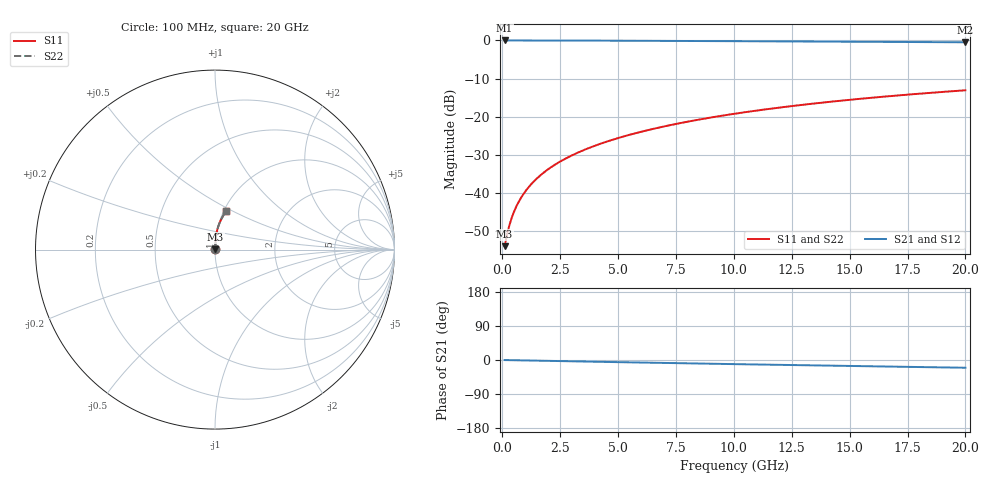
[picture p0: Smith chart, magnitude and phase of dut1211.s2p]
! Touchstone file exported from HFSS 2024.1.0
!  File:  C:/UserFiles/LocalFiles/RDL_TSV_Batchsim/temp_RDL_top_1211_1780239812.aedt
!  Generated:  11:05:58 PM May 31, 2026
!  Design:  RDL_top
!  Project:  temp_RDL_top_1211_1780239812
!  Setup:  Setup1
!  Solution:  Sweep
! Variables:
!  dtsv = 10.80580581um
!  hbump = 3um
!  htsv = 93.15um
!  ldown = 100um
!  lrdl = 258.87um
!  p = 40
!  p1 = 45.47um
!  rhole = 1um
!  t = 450um
!  tdown = 3.915915916um
!  trdl = 3.26um
!  wdown = 15.38538539um
!  wrdl = 19.04um
# GHz S MA R 50.000000
! Terminal data exported
! Port[1] = Box2_T1
! Port[2] = Box2_T2
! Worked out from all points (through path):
!   200 points, 100 MHz to 20 GHz, reference 50 ohm
!   highest |S21| = -0.01 dB at 100 MHz (marker M1); lowest = -0.5 dB at 20 GHz (marker M2)
!   group delay of S21, straight-line fit = 2.82 ps
!   lowest |S11| = -53.9 dB at 100 MHz (marker M3), VSWR 1.00, Z = 50.2 + j0.112 ohm
!   |S11| at or under -10 dB: start of sweep to end of sweep
!   |S22| runs from -53.9 to -13.1 dB; largest |S21 - S12| = 5.3e-15
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0.1  0.002026 33.5  0.9983 -0.1  0.9983 -0.1  0.002026 33.5
! Gamma 0 0 0 0
! Port Impedance 50 0 50 0
0.2  0.002816 51.7  0.9982 -0.2  0.9982 -0.2  0.002816 51.7
0.3  0.00374 61.1  0.9982 -0.4  0.9982 -0.4  0.00374 61.1
0.4  0.0047 66.6  0.9981 -0.5  0.9981 -0.5  0.0047 66.6
0.5  0.005671 70.2  0.998 -0.6  0.998 -0.6  0.005671 70.2
0.6  0.006648 72.9  0.9979 -0.7  0.9979 -0.7  0.006648 72.9
0.8  0.00862 76.5  0.9978 -0.9  0.9978 -0.9  0.00862 76.5
1.1  0.01161 79.7  0.9976 -1.3  0.9976 -1.3  0.01161 79.7
1.3  0.01363 81.1  0.9974 -1.5  0.9974 -1.5  0.01363 81.1
1.6  0.01668 82.6  0.9971 -1.9  0.9971 -1.9  0.01668 82.6
2.1  0.02181 84.2  0.9966 -2.4  0.9966 -2.4  0.02181 84.2
2.7  0.02805 85.2  0.9957 -3.1  0.9957 -3.1  0.02805 85.2
3.5  0.03648 85.9  0.9943 -4.0  0.9943 -4.0  0.03648 85.9
4.2  0.04398 86.2  0.9929 -4.8  0.9929 -4.8  0.04398 86.2
5  0.05267 86.3  0.991 -5.7  0.991 -5.7  0.05267 86.3
5.9  0.0626 86.1  0.9887 -6.6  0.9887 -6.6  0.0626 86.1
6.8  0.07268 85.7  0.9863 -7.6  0.9863 -7.6  0.07268 85.7
8.4  0.09088 84.8  0.9817 -9.2  0.9817 -9.2  0.09088 84.8
10.1  0.1105 83.5  0.9766 -11.0  0.9766 -11.0  0.1105 83.5
13.4  0.1485 80.5  0.9663 -14.2  0.9663 -14.2  0.1485 80.5
16.7  0.186 77.2  0.9558 -17.4  0.9558 -17.4  0.186 77.2
20  0.2224 73.9  0.9449 -20.4  0.9449 -20.4  0.2224 73.9
